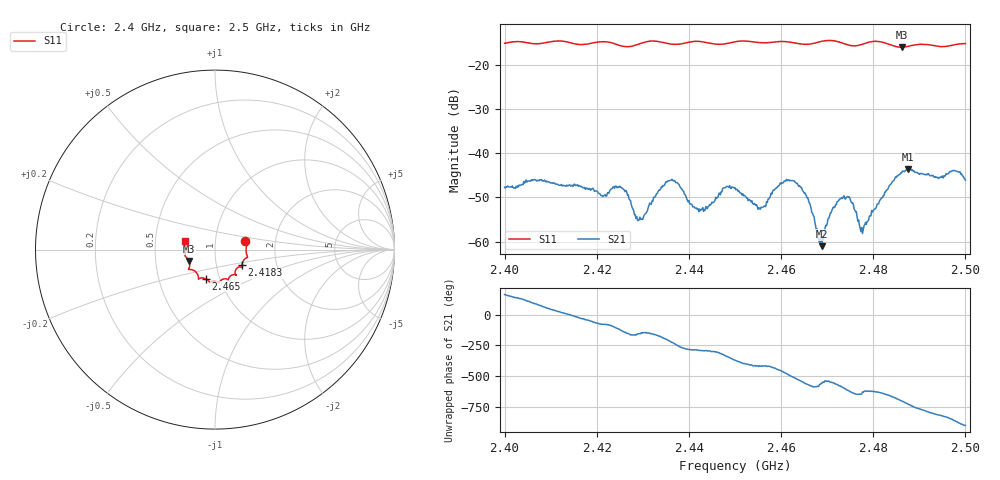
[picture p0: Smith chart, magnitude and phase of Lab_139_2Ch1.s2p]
# Hz S RI R 50
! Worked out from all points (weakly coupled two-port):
!   601 points, 2.4 GHz to 2.5 GHz, reference 50 ohm
!   highest |S21| = -43.55 dB at 2.4875 GHz (marker M1); lowest = -61.0 dB at 2.4688 GHz (marker M2)
!   lowest |S11| = -16.0 dB at 2.4862 GHz (marker M3), VSWR 1.37, Z = 37.1 - j4.81 ohm
!   |S11| at or under -10 dB: start of sweep to end of sweep
!   S12 and S22 are empty: the file has one direction only
!   S11 on the Smith chart (normalised r, x): 2.4 GHz: 1.40, +0.13; 2.4183 GHz: 1.33, -0.24; 2.465 GHz: 0.86, -0.29; 2.5 GHz: 0.71, +0.07
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2.4e9  0.1689 0.046  -0.004 0.000966  0 0  0 0
2.416667e9  0.1549 -0.068  0.00359 -0.00216  0 0  0 0
2.418333e9  0.1499 -0.0866  0.0028 -0.00277  0 0  0 0
2.4255e9  0.1296 -0.0984  -0.00265 -0.00304  0 0  0 0
2.429333e9  0.1124 -0.1318  -0.00168 -0.00086  0 0  0 0
2.433333e9  0.1169 -0.1412  -0.00364 -0.000497  0 0  0 0
2.4365e9  0.0947 -0.1419  -0.00335 0.00363  0 0  0 0
2.442667e9  0.0726 -0.1677  0.000839 0.00213  0 0  0 0
2.447833e9  0.0363 -0.1687  0.00357 0.00193  0 0  0 0
2.45e9  0.0251 -0.1807  0.00401 -0.000671  0 0  0 0
2.4555e9  0.00333 -0.178  0.00124 -0.00196  0 0  0 0
2.461167e9  -0.0306 -0.1798  -0.00254 -0.00437  0 0  0 0
2.465e9  -0.0528 -0.162  -0.00343 0.000916  0 0  0 0
2.466667e9  -0.0714 -0.1574  -0.00154 0.00147  0 0  0 0
2.468833e9  -0.0891 -0.1616  -0.000821 0.000334  0 0  0 0
2.472667e9  -0.0919 -0.1555  -0.00227 0.00198  0 0  0 0
2.475e9  -0.1018 -0.1305  -0.000153 0.003  0 0  0 0
2.477667e9  -0.1294 -0.1118  3.12e-05 0.00123  0 0  0 0
2.483333e9  -0.142 -0.0959  0.00191 0.00366  0 0  0 0
2.486167e9  -0.1446 -0.0633  0.00574 0.00165  0 0  0 0
2.4875e9  -0.1533 -0.0504  0.00656 -0.00105  0 0  0 0
2.5e9  -0.1669 0.0472  -0.00493 0.000375  0 0  0 0
